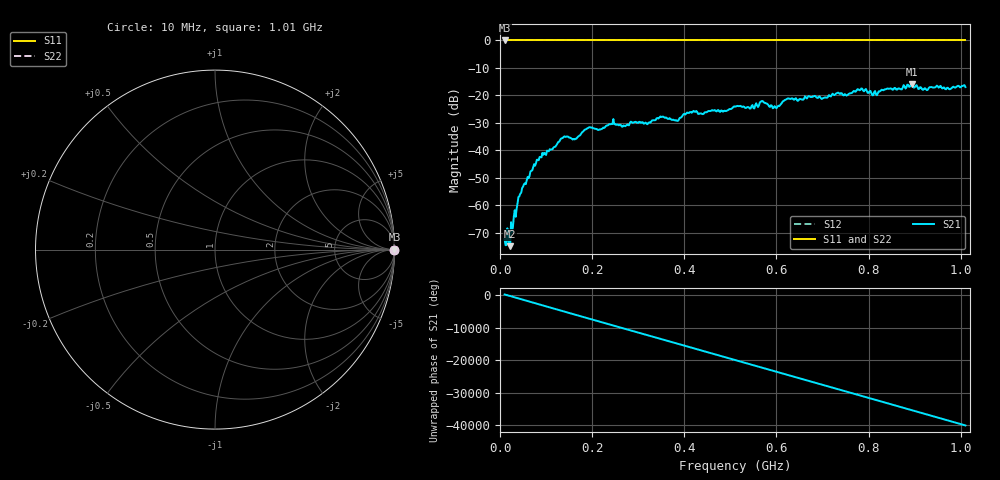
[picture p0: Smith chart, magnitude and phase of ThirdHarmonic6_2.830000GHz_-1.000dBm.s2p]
! 8/17/2025 7:32:35 AM
! C:\ANRITSUVNA\TEMP\TEMP.S2P
! CHANNEL.1
! TR.MEASUREMENT
! RAW.DATA
! RF.CORRECTION.OFF
! AVERAGING.OFF
! IF.BANDWIDTH: 5KHZ
! SWEEPTYPE:  FREQ.SWEEP(Linear)
! Reference Plane Port Info
! PORT:  PORT1  PORT2
! DISTANCE:  0  m  0  m
! TIME:  0  s  0  s
! PHASE.OFFSET:  0  deg.  0  deg.
! LOSS:  0  dB  0  dB
! REF.LOSS:  0  dB  0  dB
! REF.FREQ:  0  Hz  0  Hz
! Power Info
! POWER:  -20  dBm  -20  dBm
! EFF.POWER:  -20  dBm  -20  dBm
! SOURCE.ATTEN:  0  dB  0  dB
! TEST.ATTEN:  0  dB  0  dB
# GHZ S RI R 50.0
! FREQ.GHZ  S11RE  S11IM  S21RE  S21IM  S12RE  S12IM  S22RE  S22IM
!; PortSelection: Port_12
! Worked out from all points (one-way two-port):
!   501 points, 10 MHz to 1.01 GHz, reference 50 ohm
!   highest |S21| = -15.85 dB at 894 MHz (marker M1); lowest = -74.9 dB at 22 MHz (marker M2)
!   lowest |S11| = 0.0 dB at 10 MHz (marker M3)
!   |S11| at or under -10 dB: nowhere
!   |S22| runs from 0.0 to 0.0 dB; largest |S21 - S12| = 1.2
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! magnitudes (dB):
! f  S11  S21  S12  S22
! 10 MHz  0.0  -72.3  0.0  0.0
! 22 MHz  0.0  -74.9  0.0  0.0
! 44 MHz  0.0  -55.8  0.0  0.0
! 78 MHz  0.0  -44.7  0.0  0.0
! 136 MHz  0.0  -35.5  0.0  0.0
! 162 MHz  0.0  -36.0  0.0  0.0
! 178 MHz  0.0  -33.5  0.0  0.0
! 242 MHz  0.0  -30.4  0.0  0.0
! 268 MHz  0.0  -31.0  0.0  0.0
! 344 MHz  0.0  -28.4  0.0  0.0
! 384 MHz  0.0  -29.2  0.0  0.0
! 410 MHz  0.0  -26.4  0.0  0.0
! 510 MHz  0.0  -24.1  0.0  0.0
! 548 MHz  0.0  -23.5  0.0  0.0
! 568 MHz  0.0  -22.1  0.0  0.0
! 596 MHz  0.0  -23.9  0.0  0.0
! 622 MHz  0.0  -21.4  0.0  0.0
! 678 MHz  0.0  -20.5  0.0  0.0
! 814 MHz  0.0  -18.4  0.0  0.0
! 844 MHz  0.0  -17.6  0.0  0.0
! 894 MHz  0.0  -15.8  0.0  0.0
! 1.01 GHz  0.0  -16.9  0.0  0.0
